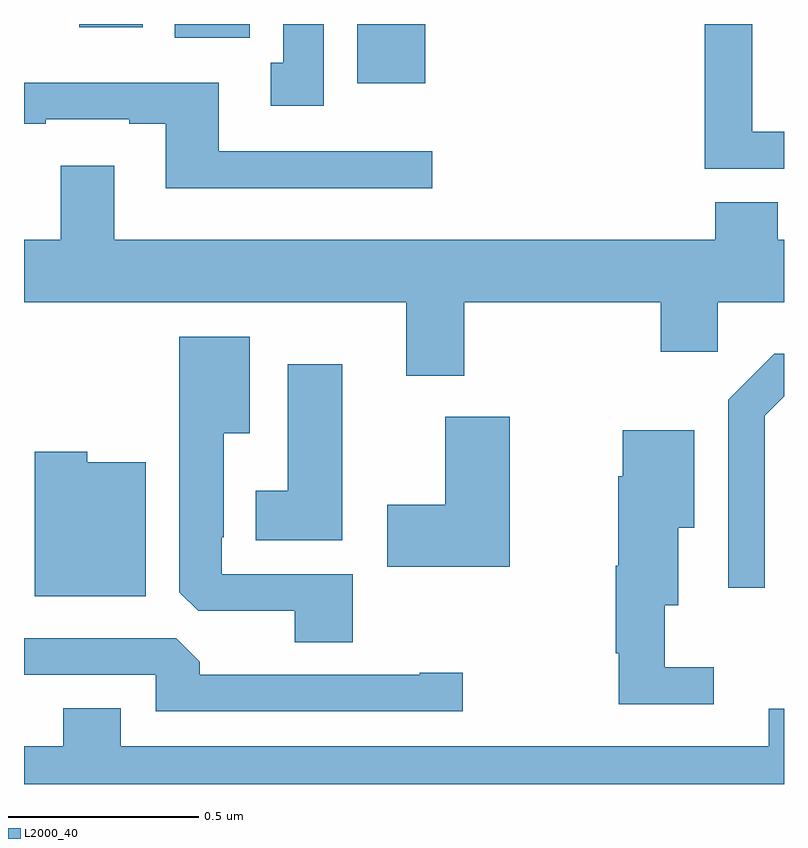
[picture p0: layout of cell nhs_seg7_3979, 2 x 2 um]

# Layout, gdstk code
import gdstk
lib = gdstk.Library(unit=1e-6, precision=1e-09)
def R(c, l, rs):  # rectangles x0, y0, x1, y1
    for r in rs: c.add(gdstk.rectangle(r[:2], r[2:], *l))
def P(c, l, *ps):  # polygons
    for p in ps: c.add(gdstk.Polygon(p, *l))
L2000_40 = (2000, 40)

nhs_seg7_3979 = lib.new_cell('nhs_seg7_3979')
R(nhs_seg7_3979, L2000_40, [(166.877,1015.844,167.056,1016), (166.397,1015.964,166.594,1016), (166.145,1015.992,166.312,1016)])
P(nhs_seg7_3979, L2000_40, [(168,1015.716),(167.917,1015.716),(167.917,1016),(167.792,1016),(167.792,1015.619),(168,1015.619)],
  [(166.789,1016),(166.682,1016),(166.682,1015.898),(166.649,1015.898),(166.649,1015.785),(166.789,1015.785)],
  [(167.074,1015.665),(166.513,1015.665),(166.513,1015.846),(166,1015.846),(166,1015.737),(166.057,1015.737),(166.057,1015.749),(166.277,1015.749),(166.277,1015.737),(166.373,1015.737),(166.373,1015.568),(167.074,1015.568)],
  [(167.159,1015.268),(167.675,1015.268),(167.675,1015.137),(167.826,1015.137),(167.826,1015.268),(168,1015.268),(168,1015.432),(167.984,1015.432),(167.984,1015.531),(167.819,1015.531),(167.819,1015.432),(166.237,1015.432),(166.237,1015.627),(166.097,1015.627),(166.097,1015.432),(166,1015.432),(166,1015.268),(167.006,1015.268),(167.006,1015.074),(167.159,1015.074)],
  [(166.865,1014.552),(166.521,1014.552),(166.521,1014.649),(166.525,1014.649),(166.525,1014.923),(166.594,1014.923),(166.594,1015.177),(166.409,1015.177),(166.409,1014.505),(166.458,1014.456),(166.712,1014.456),(166.712,1014.373),(166.865,1014.373)],
  [(167.949,1014.969),(168,1015.02),(168,1015.132),(167.974,1015.132),(167.853,1015.011),(167.853,1014.516),(167.949,1014.516)],
  [(166.837,1015.105),(166.694,1015.105),(166.694,1014.772),(166.61,1014.772),(166.61,1014.641),(166.837,1014.641)],
  [(167.278,1014.967),(167.108,1014.967),(167.108,1014.735),(166.956,1014.735),(166.956,1014.572),(167.278,1014.572)],
  [(167.815,1014.307),(167.686,1014.307),(167.686,1014.47),(167.722,1014.47),(167.722,1014.674),(167.764,1014.674),(167.764,1014.931),(167.576,1014.931),(167.576,1014.81),(167.564,1014.81),(167.564,1014.574),(167.557,1014.574),(167.557,1014.344),(167.565,1014.344),(167.565,1014.21),(167.815,1014.21)],
  [(166.321,1014.847),(166.167,1014.847),(166.167,1014.874),(166.028,1014.874),(166.028,1014.494),(166.321,1014.494)],
  [(167.155,1014.293),(167.042,1014.293),(167.042,1014.288),(166.463,1014.288),(166.463,1014.322),(166.401,1014.384),(166,1014.384),(166,1014.288),(166.347,1014.288),(166.347,1014.192),(167.155,1014.192)],
  [(168,1014.198),(167.96,1014.198),(167.96,1014.1),(166.255,1014.1),(166.255,1014.199),(166.103,1014.199),(166.103,1014.1),(166,1014.1),(166,1014),(168,1014)])

lib.write_gds('nhs_seg7_3979.gds')
